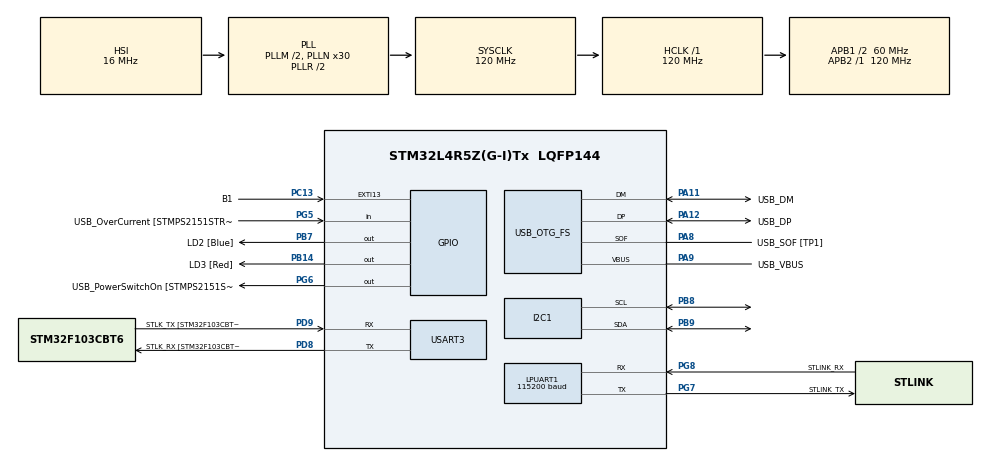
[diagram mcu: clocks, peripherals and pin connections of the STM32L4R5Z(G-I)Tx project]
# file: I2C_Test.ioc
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I2C1.Timing=0x107075B0
LPUART1.BaudRate=115200
LPUART1.WordLength=UART_WORDLENGTH_8B
Mcu.Family=STM32L4
Mcu.Name=STM32L4R5Z(G-I)Tx
Mcu.Package=LQFP144
NVIC.I2C1_ER_IRQn=true\:0\:0\:false\:false\:true\:true\:true\:true
NVIC.I2C1_EV_IRQn=true\:0\:0\:false\:false\:true\:true\:true\:true
NVIC.PriorityGroup=NVIC_PRIORITYGROUP_4
PA10.GPIO_Label=USB_ID
PA10.Signal=USB_OTG_FS_ID
PA11.GPIO_Label=USB_DM
PA11.Mode=Device_Only
PA11.Signal=USB_OTG_FS_DM
PA12.GPIO_Label=USB_DP
PA12.Mode=Device_Only
PA12.Signal=USB_OTG_FS_DP
PA13\ (JTMS/SWDIO).GPIO_Label=TMS
PA13\ (JTMS/SWDIO).Mode=Trace_Asynchronous_SW
PA13\ (JTMS/SWDIO).Signal=SYS_JTMS-SWDIO
PA14\ (JTCK/SWCLK).GPIO_Label=TCK
PA14\ (JTCK/SWCLK).Mode=Trace_Asynchronous_SW
PA14\ (JTCK/SWCLK).Signal=SYS_JTCK-SWCLK
PA8.GPIO_Label=USB_SOF [TP1]
PA8.Mode=Activate_SOF_FS
PA8.Signal=USB_OTG_FS_SOF
PA9.GPIO_Label=USB_VBUS
PA9.Mode=Activate_VBUS
PA9.Signal=USB_OTG_FS_VBUS
PB14.GPIO_Label=LD3 [Red]
PB14.Signal=GPIO_Output
PB3\ (JTDO/TRACESWO).GPIO_Label=SWO
PB3\ (JTDO/TRACESWO).Mode=Trace_Asynchronous_SW
PB3\ (JTDO/TRACESWO).Signal=SYS_JTDO-SWO
PB7.GPIO_Label=LD2 [Blue]
PB7.Signal=GPIO_Output
PB8.Mode=I2C
PB8.Signal=I2C1_SCL
PB9.Mode=I2C
PB9.Signal=I2C1_SDA
PC13.GPIO_Label=B1
PC13.Signal=GPXTI13
PC14-OSC32_IN\ (PC14).Mode=LSE-External-Oscillator
PC14-OSC32_IN\ (PC14).Signal=RCC_OSC32_IN
PC15-OSC32_OUT\ (PC15).Mode=LSE-External-Oscillator
PC15-OSC32_OUT\ (PC15).Signal=RCC_OSC32_OUT
PD8.GPIO_Label=STLK_RX [STM32F103CBT6_PA3]
PD8.Mode=Asynchronous
PD8.Signal=USART3_TX
PD9.GPIO_Label=STLK_TX [STM32F103CBT6_PA2]
PD9.Mode=Asynchronous
PD9.Signal=USART3_RX
PG5.GPIO_Label=USB_OverCurrent [STMPS2151STR_FAULT]
PG5.Signal=GPIO_Input
PG6.GPIO_Label=USB_PowerSwitchOn [STMPS2151STR_EN]
PG6.Signal=GPIO_Output
PG7.GPIO_Label=STLINK_TX
PG7.Mode=Asynchronous
PG7.Signal=LPUART1_TX
PG8.GPIO_Label=STLINK_RX
PG8.Mode=Asynchronous
PG8.Signal=LPUART1_RX
PH0-OSC_IN\ (PH0).Signal=RCC_OSC_IN
PH1-OSC_OUT\ (PH1).Signal=RCC_OSC_OUT
ProjectManager.HeapSize=0x200
ProjectManager.StackSize=0x400
ProjectManager.TargetToolchain=STM32CubeIDE
RCC.48MHZClocksFreq_Value=24000000
RCC.ADCFreq_Value=96000000
RCC.AHBFreq_Value=120000000
RCC.APB1CLKDivider=RCC_HCLK_DIV2
RCC.APB1Freq_Value=60000000
RCC.APB1TimFreq_Value=120000000
RCC.APB2Freq_Value=120000000
RCC.APB2TimFreq_Value=120000000
RCC.CK48CLockSelection=RCC_USBCLKSOURCE_HSI48
RCC.CortexFreq_Value=120000000
RCC.HCLKFreq_Value=120000000
RCC.HSE_VALUE=8000000
RCC.HSI48_VALUE=48000000
RCC.HSI_VALUE=16000000
RCC.MSI_VALUE=4000000
RCC.PLLM1=2
RCC.PLLMUL=RCC_PLL_MUL9
RCC.PLLN=30
RCC.PLLSAI1N=12
RCC.PLLSourceVirtual=RCC_PLLSOURCE_HSI
RCC.PRESCALERUSB=RCC_USBCLKSOURCE_PLL_DIV1_5
RCC.SYSCLKFreq_VALUE=120000000
RCC.SYSCLKSource=RCC_SYSCLKSOURCE_PLLCLK
RCC.SYSCLKSourceVirtual=RCC_SYSCLKSOURCE_PLLCLK
RCC.USBFreq_Value=48000000
RCC.VCOOutputFreq_Value=240000000
USART3.VirtualMode-Asynchronous=VM_ASYNC
USB_OTG_FS.VirtualMode=Device_Only
board=NUCLEO-L4R5ZI

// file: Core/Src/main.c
/* USER CODE BEGIN Header */
/**
  ******************************************************************************
  * @file           : main.c
  * @brief          : Main program body
  ******************************************************************************
  * @attention
  *
  * Copyright (c) 2024 STMicroelectronics.
  * All rights reserved.
  *
  * This software is licensed under terms that can be found in the LICENSE file
  * in the root directory of this software component.
  * If no LICENSE file comes with this software, it is provided AS-IS.
  *
  ******************************************************************************
  */
/* USER CODE END Header */
#include "main.h"

/* USER CODE BEGIN Includes */
#include "stdio.h"
/* USER CODE END Includes */

I2C_HandleTypeDef hi2c1;

UART_HandleTypeDef hlpuart1;
UART_HandleTypeDef huart3;

PCD_HandleTypeDef hpcd_USB_OTG_FS;

/* USER CODE BEGIN PV */
uint8_t TX_Buffer [] = "BAB" ; // DATA to send (hex 42 41 42)
uint8_t TX_Buffer_Two [] = "test" ; // DATA to send (hex 74 65 73 74)

uint8_t Buffer[25] = {0};
uint8_t Space[] = " - ";
uint8_t StartMSG[] = "Starting I2C Scanning: \r\n";
uint8_t EndMSG[] = "Done! \r\n\r\n";

/* USER CODE END PV */

void SystemClock_Config(void);
static void MX_GPIO_Init(void);
static void MX_LPUART1_UART_Init(void);
static void MX_USART3_UART_Init(void);
static void MX_USB_OTG_FS_PCD_Init(void);
static void MX_I2C1_Init(void);
/* USER CODE BEGIN PFP */
int I2C_Scan(void);

void send_I2C_telecommand(uint8_t id, uint8_t* data, uint32_t data_length) {
	// Telecommand Format:
	// ADCS_ESC_CHARACTER, ADCS_START_MESSAGE [uint8_t TLM/TC ID], ADCS_ESC_CHARACTER, ADCS_END_MESSAGE
	// The defines in adcs_types.h already include the 7th bit of the ID to distinguish TLM and TC
	// data bytes can be up to a maximum of 8 bytes; data_length ranges from 0 to 8

	//Allocate only required memory
	uint8_t buf[2 + data_length];

	buf[0] = 0xAE;
	buf[1] = id;

	// Fill buffer with Data if transmitting a Telecommand
	for (int i = 0; i < data_length; i++) {
		buf[i + 2] = data[i];
	}

	while (HAL_I2C_GetState(&hi2c1) != HAL_I2C_STATE_READY) {} // implement delay for interrupt
	HAL_I2C_Master_Seq_Transmit_IT(&hi2c1, 0x57 << 1, buf, sizeof(buf)/sizeof(uint8_t), I2C_FIRST_AND_LAST_FRAME);

}

void seq2(uint8_t* foo) {
	HAL_I2C_Master_Seq_Transmit_IT(&hi2c1, 0x57 << 1, foo, 7, I2C_FIRST_AND_LAST_FRAME);
}

void minimal_seq(uint8_t* stuff, uint8_t size) {

	uint8_t buf[2 + size];

	buf[0] = 0xAE;
	buf[1] = 0x70;

	// Fill buffer with Data if transmitting a Telecommand
	for (int i = 0; i < size; i++) {
		buf[i + 2] = stuff[i];
	}

	HAL_I2C_Master_Seq_Transmit_IT(&hi2c1, 0x57 << 1, buf, 2 + size, I2C_FIRST_AND_LAST_FRAME);
	HAL_Delay(100);
}

/* USER CODE END PFP */

int main(void)
{

  /* MCU Configuration--------------------------------------------------------*/

  /* Reset of all peripherals, Initializes the Flash interface and the Systick. */
  HAL_Init();

  /* Configure the system clock */
  SystemClock_Config();

  /* Initialize all configured peripherals */
  MX_GPIO_Init();
  MX_LPUART1_UART_Init();
  MX_USART3_UART_Init();
  MX_USB_OTG_FS_PCD_Init();
  MX_I2C1_Init();
  /* USER CODE BEGIN 2 */

  HAL_UART_Transmit(&hlpuart1, "Potato\n", strlen("Potato\n"), 100);

  I2C_Scan();

  /*
  //HAL_I2C_Master_Transmit(&hi2c1,0x57 <<1,TX_Buffer,3,HAL_MAX_DELAY); //Sending in Blocking mode
  HAL_I2C_Master_Seq_Transmit_IT(&hi2c1, 0x57<<1,TX_Buffer,3, I2C_FIRST_AND_LAST_FRAME); //Non-Blocking mode
  HAL_Delay(100);
  HAL_I2C_Master_Seq_Transmit_IT(&hi2c1, 0x57<<1,TX_Buffer_Two,4, I2C_FIRST_AND_LAST_FRAME); //Non-Blocking mode
  HAL_Delay(100);

  // try with ASCII values
  uint8_t bufe[7] = {0xAE, 0x70, 0x0A, 0x0B, 0x0C, 0x0D, 0x0E};
  HAL_I2C_Master_Seq_Transmit_IT(&hi2c1, 0x57<<1,bufe,7, I2C_FIRST_AND_LAST_FRAME);
  HAL_Delay(100);

  uint8_t data_length = 5;
  uint8_t id = 0x70;
  uint8_t data[5] = {0x0A, 0x0B, 0x0C, 0x0D, 0x0E};

  // BEGIN CODE FROM send_I2C_telecommand FUNCTION (inputs id, *data, data_length)
  uint8_t buff[2 + data_length];

  buff[0] = 0xAE;
  buff[1] = id;

  // Fill buffer with Data if transmitting a Telecommand
  for (int i = 0; i < data_length; i++) {
  	buff[i + 2] = data[i];
  }

  while (HAL_I2C_GetState(&hi2c1) != HAL_I2C_STATE_READY) {} // implement delay for interrupt
  HAL_I2C_Master_Seq_Transmit_IT(&hi2c1, 0x57 << 1, buff, sizeof(buff)/sizeof(uint8_t), I2C_FIRST_AND_LAST_FRAME);
  // END CODE FROM send_I2C_telecommand FUNCTION

  HAL_Delay(100);

  send_I2C_telecommand(0x70, data, 5);
  HAL_Delay(100);

  uint8_t stuffe[] = {0xAE, 0x0A, 0x07, 0x70};
  HAL_I2C_Master_Seq_Transmit_IT(&hi2c1, 0x57 << 1, stuffe, sizeof(stuffe)/sizeof(uint8_t), I2C_FIRST_AND_LAST_FRAME);

  HAL_Delay(100);

  seq2(stuffe);

  HAL_Delay(100);

  minimal_seq(stuffe);
   */

  //uint8_t bar[6] = {0x01, 0x02, 0x03, 0x04, 0x05, 0x06};
  //minimal_seq(bar, 6);

  /* USER CODE END 2 */

  /* Infinite loop */
  while (1)
  {

  }
}

void SystemClock_Config(void)
{
  RCC_OscInitTypeDef RCC_OscInitStruct = {0};
  RCC_ClkInitTypeDef RCC_ClkInitStruct = {0};

  /** Configure the main internal regulator output voltage
  */
  if (HAL_PWREx_ControlVoltageScaling(PWR_REGULATOR_VOLTAGE_SCALE1_BOOST) != HAL_OK)
  {
    Error_Handler();
  }

  /** Initializes the RCC Oscillators according to the specified parameters
  * in the RCC_OscInitTypeDef structure.
  */
  RCC_OscInitStruct.OscillatorType = RCC_OSCILLATORTYPE_HSI48|RCC_OSCILLATORTYPE_HSI;
  RCC_OscInitStruct.HSIState = RCC_HSI_ON;
  RCC_OscInitStruct.HSI48State = RCC_HSI48_ON;
  RCC_OscInitStruct.HSICalibrationValue = RCC_HSICALIBRATION_DEFAULT;
  RCC_OscInitStruct.PLL.PLLState = RCC_PLL_ON;
  RCC_OscInitStruct.PLL.PLLSource = RCC_PLLSOURCE_HSI;
  RCC_OscInitStruct.PLL.PLLM = 2;
  RCC_OscInitStruct.PLL.PLLN = 30;
  RCC_OscInitStruct.PLL.PLLP = RCC_PLLP_DIV2;
  RCC_OscInitStruct.PLL.PLLQ = RCC_PLLQ_DIV2;
  RCC_OscInitStruct.PLL.PLLR = RCC_PLLR_DIV2;
  if (HAL_RCC_OscConfig(&RCC_OscInitStruct) != HAL_OK)
  {
    Error_Handler();
  }

  /** Initializes the CPU, AHB and APB buses clocks
  */
  RCC_ClkInitStruct.ClockType = RCC_CLOCKTYPE_HCLK|RCC_CLOCKTYPE_SYSCLK
                              |RCC_CLOCKTYPE_PCLK1|RCC_CLOCKTYPE_PCLK2;
  RCC_ClkInitStruct.SYSCLKSource = RCC_SYSCLKSOURCE_PLLCLK;
  RCC_ClkInitStruct.AHBCLKDivider = RCC_SYSCLK_DIV1;
  RCC_ClkInitStruct.APB1CLKDivider = RCC_HCLK_DIV2;
  RCC_ClkInitStruct.APB2CLKDivider = RCC_HCLK_DIV1;

  if (HAL_RCC_ClockConfig(&RCC_ClkInitStruct, FLASH_LATENCY_5) != HAL_OK)
  {
    Error_Handler();
  }
}

static void MX_I2C1_Init(void)
{

  hi2c1.Instance = I2C1;
  hi2c1.Init.Timing = 0x107075B0;
  hi2c1.Init.OwnAddress1 = 0;
  hi2c1.Init.AddressingMode = I2C_ADDRESSINGMODE_7BIT;
  hi2c1.Init.DualAddressMode = I2C_DUALADDRESS_DISABLE;
  hi2c1.Init.OwnAddress2 = 0;
  hi2c1.Init.OwnAddress2Masks = I2C_OA2_NOMASK;
  hi2c1.Init.GeneralCallMode = I2C_GENERALCALL_DISABLE;
  hi2c1.Init.NoStretchMode = I2C_NOSTRETCH_DISABLE;
  if (HAL_I2C_Init(&hi2c1) != HAL_OK)
  {
    Error_Handler();
  }

  /** Configure Analogue filter
  */
  if (HAL_I2CEx_ConfigAnalogFilter(&hi2c1, I2C_ANALOGFILTER_ENABLE) != HAL_OK)
  {
    Error_Handler();
  }

  /** Configure Digital filter
  */
  if (HAL_I2CEx_ConfigDigitalFilter(&hi2c1, 0) != HAL_OK)
  {
    Error_Handler();
  }

}

static void MX_LPUART1_UART_Init(void)
{

  hlpuart1.Instance = LPUART1;
  hlpuart1.Init.BaudRate = 115200;
  hlpuart1.Init.WordLength = UART_WORDLENGTH_8B;
  hlpuart1.Init.StopBits = UART_STOPBITS_1;
  hlpuart1.Init.Parity = UART_PARITY_NONE;
  hlpuart1.Init.Mode = UART_MODE_TX_RX;
  hlpuart1.Init.HwFlowCtl = UART_HWCONTROL_NONE;
  hlpuart1.Init.OneBitSampling = UART_ONE_BIT_SAMPLE_DISABLE;
  hlpuart1.Init.ClockPrescaler = UART_PRESCALER_DIV1;
  hlpuart1.AdvancedInit.AdvFeatureInit = UART_ADVFEATURE_NO_INIT;
  hlpuart1.FifoMode = UART_FIFOMODE_DISABLE;
  if (HAL_UART_Init(&hlpuart1) != HAL_OK)
  {
    Error_Handler();
  }
  if (HAL_UARTEx_SetTxFifoThreshold(&hlpuart1, UART_TXFIFO_THRESHOLD_1_8) != HAL_OK)
  {
    Error_Handler();
  }
  if (HAL_UARTEx_SetRxFifoThreshold(&hlpuart1, UART_RXFIFO_THRESHOLD_1_8) != HAL_OK)
  {
    Error_Handler();
  }
  if (HAL_UARTEx_DisableFifoMode(&hlpuart1) != HAL_OK)
  {
    Error_Handler();
  }

}

static void MX_USART3_UART_Init(void)
{

  huart3.Instance = USART3;
  huart3.Init.BaudRate = 115200;
  huart3.Init.WordLength = UART_WORDLENGTH_8B;
  huart3.Init.StopBits = UART_STOPBITS_1;
  huart3.Init.Parity = UART_PARITY_NONE;
  huart3.Init.Mode = UART_MODE_TX_RX;
  huart3.Init.HwFlowCtl = UART_HWCONTROL_NONE;
  huart3.Init.OverSampling = UART_OVERSAMPLING_16;
  huart3.Init.OneBitSampling = UART_ONE_BIT_SAMPLE_DISABLE;
  huart3.Init.ClockPrescaler = UART_PRESCALER_DIV1;
  huart3.AdvancedInit.AdvFeatureInit = UART_ADVFEATURE_NO_INIT;
  if (HAL_UART_Init(&huart3) != HAL_OK)
  {
    Error_Handler();
  }
  if (HAL_UARTEx_SetTxFifoThreshold(&huart3, UART_TXFIFO_THRESHOLD_1_8) != HAL_OK)
  {
    Error_Handler();
  }
  if (HAL_UARTEx_SetRxFifoThreshold(&huart3, UART_RXFIFO_THRESHOLD_1_8) != HAL_OK)
  {
    Error_Handler();
  }
  if (HAL_UARTEx_DisableFifoMode(&huart3) != HAL_OK)
  {
    Error_Handler();
  }

}

static void MX_USB_OTG_FS_PCD_Init(void)
{

  hpcd_USB_OTG_FS.Instance = USB_OTG_FS;
  hpcd_USB_OTG_FS.Init.dev_endpoints = 6;
  hpcd_USB_OTG_FS.Init.speed = PCD_SPEED_FULL;
  hpcd_USB_OTG_FS.Init.phy_itface = PCD_PHY_EMBEDDED;
  hpcd_USB_OTG_FS.Init.Sof_enable = ENABLE;
  hpcd_USB_OTG_FS.Init.low_power_enable = DISABLE;
  hpcd_USB_OTG_FS.Init.lpm_enable = DISABLE;
  hpcd_USB_OTG_FS.Init.battery_charging_enable = ENABLE;
  hpcd_USB_OTG_FS.Init.use_dedicated_ep1 = DISABLE;
  hpcd_USB_OTG_FS.Init.vbus_sensing_enable = ENABLE;
  if (HAL_PCD_Init(&hpcd_USB_OTG_FS) != HAL_OK)
  {
    Error_Handler();
  }

}

static void MX_GPIO_Init(void)
{
  GPIO_InitTypeDef GPIO_InitStruct = {0};

  /* GPIO Ports Clock Enable */
  __HAL_RCC_GPIOC_CLK_ENABLE();
  __HAL_RCC_GPIOH_CLK_ENABLE();
  __HAL_RCC_GPIOB_CLK_ENABLE();
  __HAL_RCC_GPIOD_CLK_ENABLE();
  __HAL_RCC_GPIOG_CLK_ENABLE();
  HAL_PWREx_EnableVddIO2();
  __HAL_RCC_GPIOA_CLK_ENABLE();

  /*Configure GPIO pin Output Level */
  HAL_GPIO_WritePin(GPIOB, LD3_Pin|LD2_Pin, GPIO_PIN_RESET);

  /*Configure GPIO pin Output Level */
  HAL_GPIO_WritePin(USB_PowerSwitchOn_GPIO_Port, USB_PowerSwitchOn_Pin, GPIO_PIN_RESET);

  /*Configure GPIO pin : B1_Pin */
  GPIO_InitStruct.Pin = B1_Pin;
  GPIO_InitStruct.Mode = GPIO_MODE_IT_RISING;
  GPIO_InitStruct.Pull = GPIO_NOPULL;
  HAL_GPIO_Init(B1_GPIO_Port, &GPIO_InitStruct);

  /*Configure GPIO pins : LD3_Pin LD2_Pin */
  GPIO_InitStruct.Pin = LD3_Pin|LD2_Pin;
  GPIO_InitStruct.Mode = GPIO_MODE_OUTPUT_PP;
  GPIO_InitStruct.Pull = GPIO_NOPULL;
  GPIO_InitStruct.Speed = GPIO_SPEED_FREQ_LOW;
  HAL_GPIO_Init(GPIOB, &GPIO_InitStruct);

  /*Configure GPIO pin : USB_OverCurrent_Pin */
  GPIO_InitStruct.Pin = USB_OverCurrent_Pin;
  GPIO_InitStruct.Mode = GPIO_MODE_INPUT;
  GPIO_InitStruct.Pull = GPIO_NOPULL;
  HAL_GPIO_Init(USB_OverCurrent_GPIO_Port, &GPIO_InitStruct);

  /*Configure GPIO pin : USB_PowerSwitchOn_Pin */
  GPIO_InitStruct.Pin = USB_PowerSwitchOn_Pin;
  GPIO_InitStruct.Mode = GPIO_MODE_OUTPUT_PP;
  GPIO_InitStruct.Pull = GPIO_NOPULL;
  GPIO_InitStruct.Speed = GPIO_SPEED_FREQ_LOW;
  HAL_GPIO_Init(USB_PowerSwitchOn_GPIO_Port, &GPIO_InitStruct);

}

/* USER CODE BEGIN 4 */

int I2C_Scan(void)
{

	uint8_t i = 0, ret;

    HAL_Delay(1000);

    /*-[ I2C Bus Scanning ]-*/
    HAL_UART_Transmit(&hlpuart1, StartMSG, sizeof(StartMSG), 10000);
    for(i=1; i<128; i++)
    {
    	ret = HAL_I2C_IsDeviceReady(&hi2c1, (uint16_t)(i<<1), 3, 5);
    	if (ret != HAL_OK) /* No ACK Received At That Address */
    	{
    		HAL_UART_Transmit(&hlpuart1, Space, sizeof(Space), 10000);
        }
    	else if(ret == HAL_OK)
    	{
    		sprintf(Buffer, "0x%X", i);
    		HAL_UART_Transmit(&hlpuart1, Buffer, sizeof(Buffer), 10000);
    	}
    }
    HAL_UART_Transmit(&hlpuart1, EndMSG, sizeof(EndMSG), 10000);
    /*--[ Scanning Done ]--*/
}

/* USER CODE END 4 */

void Error_Handler(void)
{
  __disable_irq();
  while (1)
  {
  }
}
